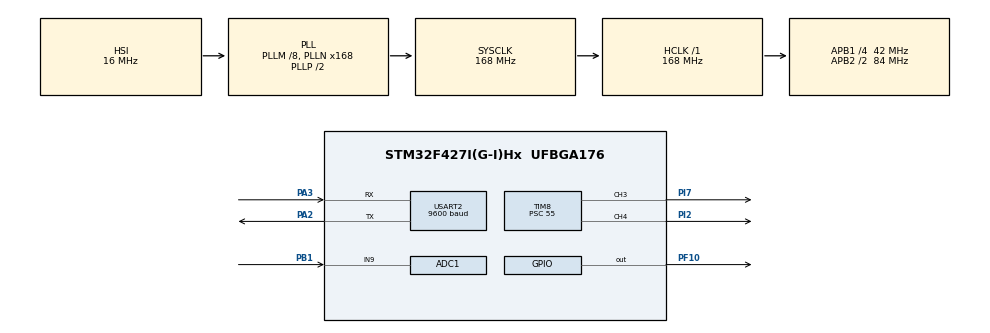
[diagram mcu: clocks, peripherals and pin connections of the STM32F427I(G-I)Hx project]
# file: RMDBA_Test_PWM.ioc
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ADC1.Channel-1\#ChannelRegularConversion=ADC_CHANNEL_9
ADC1.NbrOfConversionFlag=1
ADC1.Rank-1\#ChannelRegularConversion=1
ADC1.SamplingTime-1\#ChannelRegularConversion=ADC_SAMPLETIME_3CYCLES
ADC1.master=1
Mcu.Family=STM32F4
Mcu.Name=STM32F427I(G-I)Hx
Mcu.Package=UFBGA176
NVIC.PriorityGroup=NVIC_PRIORITYGROUP_4
NVIC.TIM2_IRQn=true\:0\:0\:false\:false\:true\:true\:true
PA2.Mode=Asynchronous
PA2.Signal=USART2_TX
PA3.Mode=Asynchronous
PA3.Signal=USART2_RX
PB1.Signal=ADCx_IN9
PF10.PinState=GPIO_PIN_SET
PF10.Signal=GPIO_Output
PH0/OSC_IN.Mode=HSE-External-Oscillator
PH0/OSC_IN.Signal=RCC_OSC_IN
PH1/OSC_OUT.Mode=HSE-External-Oscillator
PH1/OSC_OUT.Signal=RCC_OSC_OUT
PI2.Signal=S_TIM8_CH4
PI7.Signal=S_TIM8_CH3
ProjectManager.HeapSize=0x200
ProjectManager.StackSize=0x400
ProjectManager.TargetToolchain=STM32CubeIDE
RCC.48MHZClocksFreq_Value=84000000
RCC.AHBFreq_Value=168000000
RCC.APB1CLKDivider=RCC_HCLK_DIV4
RCC.APB1Freq_Value=42000000
RCC.APB1TimFreq_Value=84000000
RCC.APB2CLKDivider=RCC_HCLK_DIV2
RCC.APB2Freq_Value=84000000
RCC.APB2TimFreq_Value=168000000
RCC.CortexFreq_Value=168000000
RCC.HCLKFreq_Value=168000000
RCC.HSE_VALUE=12000000
RCC.HSI_VALUE=16000000
RCC.LSE_VALUE=32768
RCC.PLLM=8
RCC.PLLN=168
RCC.SYSCLKFreq_VALUE=168000000
RCC.SYSCLKSource=RCC_SYSCLKSOURCE_PLLCLK
RCC.VCOOutputFreq_Value=336000000
SH.ADCx_IN9.0=ADC1_IN9,IN9
SH.S_TIM8_CH3.0=TIM8_CH3,PWM Generation3 CH3
SH.S_TIM8_CH4.0=TIM8_CH4,PWM Generation4 CH4
TIM2.Period=62500
TIM2.Prescaler=671
TIM8.Channel-PWM\ Generation3\ CH3=TIM_CHANNEL_3
TIM8.Channel-PWM\ Generation4\ CH4=TIM_CHANNEL_4
TIM8.Period=60000
TIM8.Prescaler=55
TIM8.Pulse-PWM\ Generation3\ CH3=3950
TIM8.Pulse-PWM\ Generation4\ CH4=4500
USART2.BaudRate=9600
USART2.Mode=MODE_TX
USART2.VirtualMode=VM_ASYNC
VP_TIM2_VS_ClockSourceINT.Mode=Internal
VP_TIM8_VS_ClockSourceINT.Mode=Internal
board=custom

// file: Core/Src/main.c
/* USER CODE BEGIN Header */
/**
  ******************************************************************************
  * @file           : main.c
  * @brief          : Main program body
  ******************************************************************************
  * @attention
  *
  * <h2><center>&copy; Copyright (c) 2020 STMicroelectronics.
  * All rights reserved.</center></h2>
  *
  * This software component is licensed by ST under BSD 3-Clause license,
  * the "License"; You may not use this file except in compliance with the
  * License. You may obtain a copy of the License at:
  *                        opensource.org/licenses/BSD-3-Clause
  *
  ******************************************************************************
  */
/* USER CODE END Header */

#include "main.h"
#include "adc.h"
#include "tim.h"
#include "usart.h"
#include "gpio.h"

/* USER CODE BEGIN PV */
uint16_t pwm_low = 3000;
uint16_t pwm_high = 6000;
uint16_t pwm_value;
/* USER CODE END PV */

void SystemClock_Config(void);
/* USER CODE BEGIN PFP */
void HAL_TIM_PeriodElapsedCallback(TIM_HandleTypeDef*);
/* USER CODE END PFP */

/* USER CODE BEGIN 0 */
/**
  * @brief  Sends PWM signal value over serial, called by Timer2 overflow interrupt.
  * @param  htim TIM handle
  */
void HAL_TIM_PeriodElapsedCallback(TIM_HandleTypeDef* htim) {
	uint16_t word = pwm_value;
	uint8_t byte_ptr[7];
	uint8_t empty = 0;

	for(int8_t i = 4; i >= 0; --i) {
		if(empty)
			byte_ptr[i] = ' ';	// Pad with spaces
		else
			byte_ptr[i] = ((uint8_t) (word % 10)) + '0';	// Get next digit
		word /= 10;	// Divide by 10 to prepare for next digit
		if(!word)
			empty = 1;	// Fill remaining bytes with padding
	}

	byte_ptr[5] = '\r';	// End with CR LF.
	byte_ptr[6] = '\n';

	HAL_UART_Transmit(&huart2, byte_ptr, 7, HAL_MAX_DELAY);	// Send data
	return;
}
/* USER CODE END 0 */

int main(void)
{

  /* MCU Configuration--------------------------------------------------------*/

  /* Reset of all peripherals, Initializes the Flash interface and the Systick. */
  HAL_Init();

  /* Configure the system clock */
  SystemClock_Config();

  /* Initialize all configured peripherals */
  MX_GPIO_Init();
  MX_ADC1_Init();
  MX_TIM8_Init();
  MX_USART2_UART_Init();
  MX_TIM2_Init();
  /* USER CODE BEGIN 2 */
  HAL_TIM_PWM_Start(&htim8, TIM_CHANNEL_3);	// Start PWM for Gripper 1
  HAL_TIM_PWM_Start(&htim8, TIM_CHANNEL_4);	// Start PWM for Gripper 2
  HAL_TIM_Base_Start_IT(&htim2);			// Start timer for serial interrupt
  /* USER CODE END 2 */

  /* Infinite loop */
  while (1)
  {

    /* USER CODE BEGIN 3 */
	  // Converts potentiometer signal to PWM.
//	  HAL_ADC_Start(&hadc1);	// Begin ADC conversion
//	  while(HAL_ADC_PollForConversion(&hadc1, HAL_MAX_DELAY) != HAL_OK);	// Wait until conversion finishes.
//	  pwm_value = pwm_low + (pwm_high-pwm_low)/4095.0 * ((uint16_t) HAL_ADC_GetValue(&hadc1));	// Convert ADC to PWM duty cycle
//	  htim8.Instance->CCR4 = pwm_value;	// Set new PWM duty cycle.

	  // Opens & closes each gripper.
	  open_gripper(&htim8, Gripper_1);
	  HAL_Delay(1000);
	  open_gripper(&htim8, Gripper_2);
	  HAL_Delay(1000);
	  close_gripper(&htim8, Gripper_1);
	  HAL_Delay(1000);
	  close_gripper(&htim8, Gripper_2);
	  HAL_Delay(1000);
  }
  /* USER CODE END 3 */
}

void SystemClock_Config(void)
{
  RCC_OscInitTypeDef RCC_OscInitStruct = {0};
  RCC_ClkInitTypeDef RCC_ClkInitStruct = {0};

  /** Configure the main internal regulator output voltage
  */
  __HAL_RCC_PWR_CLK_ENABLE();
  __HAL_PWR_VOLTAGESCALING_CONFIG(PWR_REGULATOR_VOLTAGE_SCALE1);
  /** Initializes the CPU, AHB and APB busses clocks
  */
  RCC_OscInitStruct.OscillatorType = RCC_OSCILLATORTYPE_HSI;
  RCC_OscInitStruct.HSIState = RCC_HSI_ON;
  RCC_OscInitStruct.HSICalibrationValue = RCC_HSICALIBRATION_DEFAULT;
  RCC_OscInitStruct.PLL.PLLState = RCC_PLL_ON;
  RCC_OscInitStruct.PLL.PLLSource = RCC_PLLSOURCE_HSI;
  RCC_OscInitStruct.PLL.PLLM = 8;
  RCC_OscInitStruct.PLL.PLLN = 168;
  RCC_OscInitStruct.PLL.PLLP = RCC_PLLP_DIV2;
  RCC_OscInitStruct.PLL.PLLQ = 4;
  if (HAL_RCC_OscConfig(&RCC_OscInitStruct) != HAL_OK)
  {
    Error_Handler();
  }
  /** Initializes the CPU, AHB and APB busses clocks
  */
  RCC_ClkInitStruct.ClockType = RCC_CLOCKTYPE_HCLK|RCC_CLOCKTYPE_SYSCLK
                              |RCC_CLOCKTYPE_PCLK1|RCC_CLOCKTYPE_PCLK2;
  RCC_ClkInitStruct.SYSCLKSource = RCC_SYSCLKSOURCE_PLLCLK;
  RCC_ClkInitStruct.AHBCLKDivider = RCC_SYSCLK_DIV1;
  RCC_ClkInitStruct.APB1CLKDivider = RCC_HCLK_DIV4;
  RCC_ClkInitStruct.APB2CLKDivider = RCC_HCLK_DIV2;

  if (HAL_RCC_ClockConfig(&RCC_ClkInitStruct, FLASH_LATENCY_5) != HAL_OK)
  {
    Error_Handler();
  }
}

void Error_Handler(void)
{
}

/************************ (C) COPYRIGHT STMicroelectronics *****END OF FILE****/
